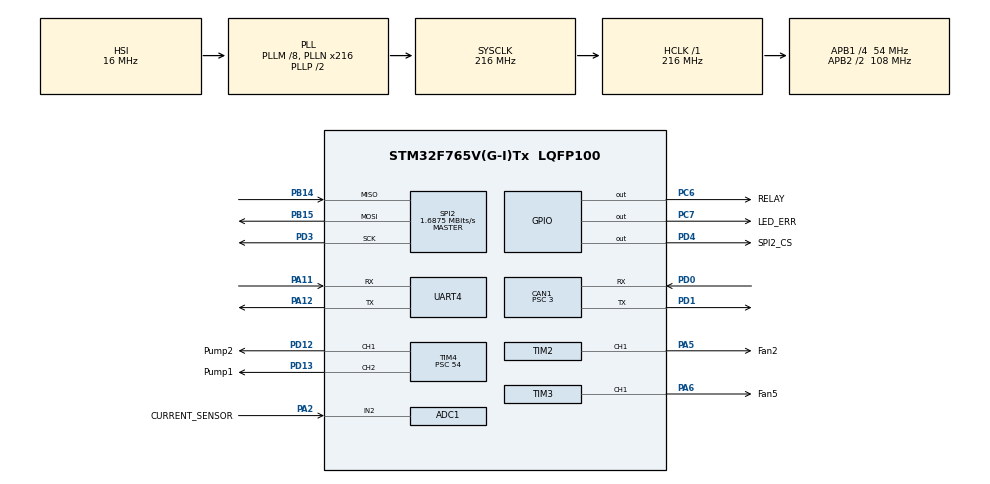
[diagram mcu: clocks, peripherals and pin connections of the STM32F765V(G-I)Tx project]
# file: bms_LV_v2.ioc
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ADC1.Channel-0\#ChannelRegularConversion=ADC_CHANNEL_2
ADC1.ContinuousConvMode=ENABLE
ADC1.NbrOfConversionFlag=1
ADC1.Rank-0\#ChannelRegularConversion=1
ADC1.SamplingTime-0\#ChannelRegularConversion=ADC_SAMPLETIME_3CYCLES
ADC1.master=1
CAN1.BS1=CAN_BS1_15TQ
CAN1.BS2=CAN_BS2_2TQ
CAN1.CalculateTimeQuantum=55.55555555555556
CAN1.Prescaler=3
Mcu.Family=STM32F7
Mcu.Name=STM32F765V(G-I)Tx
Mcu.Package=LQFP100
NVIC.ADC_IRQn=true\:0\:0\:false\:true\:true\:5\:true\:true
NVIC.CAN1_RX0_IRQn=true\:0\:0\:false\:true\:true\:3\:true\:true
NVIC.CAN1_RX1_IRQn=true\:0\:0\:false\:true\:true\:1\:true\:true
NVIC.CAN1_SCE_IRQn=true\:0\:0\:false\:true\:true\:2\:true\:true
NVIC.CAN1_TX_IRQn=true\:0\:0\:false\:true\:true\:4\:true\:true
NVIC.PriorityGroup=NVIC_PRIORITYGROUP_4
NVIC.TIM5_IRQn=true\:0\:0\:false\:true\:true\:6\:true\:true
NVIC.TIM7_IRQn=true\:0\:0\:false\:true\:true\:7\:true\:true
PA11.Mode=Asynchronous
PA11.Signal=UART4_RX
PA12.Mode=Asynchronous
PA12.Signal=UART4_TX
PA2.GPIO_Label=CURRENT_SENSOR
PA2.Signal=ADCx_IN2
PA5.GPIO_Label=Fan2
PA5.Signal=S_TIM2_CH1_ETR
PA6.GPIO_Label=Fan5
PA6.Signal=S_TIM3_CH1
PB14.GPIO_PuPd=GPIO_PULLUP
PB14.Mode=Full_Duplex_Master
PB14.Signal=SPI2_MISO
PB15.Mode=Full_Duplex_Master
PB15.Signal=SPI2_MOSI
PC6.GPIO_Label=RELAY
PC6.Signal=GPIO_Output
PC7.GPIO_Label=LED_ERR
PC7.Signal=GPIO_Output
PD0.Mode=Master
PD0.Signal=CAN1_RX
PD1.Mode=Master
PD1.Signal=CAN1_TX
PD12.GPIO_Label=Pump2
PD12.Signal=S_TIM4_CH1
PD13.GPIO_Label=Pump1
PD13.Signal=S_TIM4_CH2
PD3.Mode=Full_Duplex_Master
PD3.Signal=SPI2_SCK
PD4.GPIO_Label=SPI2_CS
PD4.Signal=GPIO_Output
ProjectManager.HeapSize=0x200
ProjectManager.StackSize=0x400
ProjectManager.TargetToolchain=Makefile
RCC.AHBFreq_Value=216000000
RCC.APB1CLKDivider=RCC_HCLK_DIV4
RCC.APB1Freq_Value=54000000
RCC.APB1TimFreq_Value=108000000
RCC.APB2CLKDivider=RCC_HCLK_DIV2
RCC.APB2Freq_Value=108000000
RCC.APB2TimFreq_Value=216000000
RCC.CortexFreq_Value=216000000
RCC.HCLKFreq_Value=216000000
RCC.HSE_VALUE=26000000
RCC.HSI_VALUE=16000000
RCC.LSE_VALUE=32768
RCC.PLLM=8
RCC.PLLN=216
RCC.PLLQ=9
RCC.SDMMC2ClockSelection=RCC_SDMMC2CLKSOURCE_CLK48
RCC.SYSCLKFreq_VALUE=216000000
RCC.SYSCLKSource=RCC_SYSCLKSOURCE_PLLCLK
RCC.USBFreq_Value=48000000
RCC.VCOOutputFreq_Value=432000000
SH.ADCx_IN2.0=ADC1_IN2,IN2
SH.S_TIM2_CH1_ETR.0=TIM2_CH1,PWM Generation1 CH1
SH.S_TIM3_CH1.0=TIM3_CH1,PWM Generation1 CH1
SH.S_TIM4_CH1.0=TIM4_CH1,PWM Generation1 CH1
SH.S_TIM4_CH2.0=TIM4_CH2,PWM Generation2 CH2
SPI2.BaudRatePrescaler=SPI_BAUDRATEPRESCALER_32
SPI2.CLKPolarity=SPI_POLARITY_LOW
SPI2.CalculateBaudRate=1.6875 MBits/s
SPI2.DataSize=SPI_DATASIZE_8BIT
SPI2.Direction=SPI_DIRECTION_2LINES
SPI2.FirstBit=SPI_FIRSTBIT_MSB
SPI2.Mode=SPI_MODE_MASTER
SPI2.VirtualType=VM_MASTER
TIM2.Channel-PWM\ Generation1\ CH1=TIM_CHANNEL_1
TIM2.Period=1000
TIM2.Prescaler=208
TIM2.Pulse-PWM\ Generation1\ CH1=1
TIM3.Channel-PWM\ Generation1\ CH1=TIM_CHANNEL_1
TIM3.Period=1000
TIM3.Prescaler=108
TIM3.Pulse-PWM\ Generation1\ CH1=1
TIM4.Channel-PWM\ Generation1\ CH1=TIM_CHANNEL_1
TIM4.Channel-PWM\ Generation2\ CH2=TIM_CHANNEL_2
TIM4.Period=1000
TIM4.Prescaler=54
TIM5.Period=999
TIM5.Prescaler=108
TIM7.Period=1000
TIM7.Prescaler=5400
VP_TIM2_VS_ClockSourceINT.Mode=Internal
VP_TIM3_VS_ClockSourceINT.Mode=Internal
VP_TIM4_VS_ClockSourceINT.Mode=Internal
VP_TIM5_VS_ClockSourceINT.Mode=Internal
VP_TIM7_VS_ClockSourceINT.Mode=Enable_Timer
board=custom

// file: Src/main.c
/* USER CODE BEGIN Header */
/**
  ******************************************************************************
  * @file           : main.c
  * @brief          : Main program body
  ******************************************************************************
  * @attention
  *
  * <h2><center>&copy; Copyright (c) 2020 STMicroelectronics.
  * All rights reserved.</center></h2>
  *
  * This software component is licensed by ST under BSD 3-Clause license,
  * the "License"; You may not use this file except in compliance with the
  * License. You may obtain a copy of the License at:
  *                        opensource.org/licenses/BSD-3-Clause
  *
  ******************************************************************************
  */
/* USER CODE END Header */

#include "main.h"

/* USER CODE BEGIN Includes */
#include "pid_controller.h"
#include "ltc.h"
#include "stdio.h"
#include "string.h"
#include "can.h"
#include "current_sensor.h"
#include "pwm.h"
/* USER CODE END Includes */

/* USER CODE BEGIN PTD */

/* ----------------------------------- ERRORS ---------------------------------*/

int BMS_ON_REQUEST = 1;
int BMS_IS_ON = 0;

int UNDER_VOLTAGE = 0;
int OVER_TEMPERATURE = 0;

//Pump
//PD13  -> PWM  -> Pump1
//PD12  -> PWM  -> Pump2

//Radiator
//PC0   -> ADC  -> Radiator1
//PC1   -> ADC  -> Radiator2

/* ---------------- ID ------------------- */
#define BMS_LV_ASK_ID 0xFF     // Foo Fighters
#define STEER_ASK_ID 0xAF      // Steering wheel
#define INV_LEFT_ASK_ID 0x181  // Inverter left
#define INV_RIGHT_ASK_ID 0x182 // Inverter right
#define ACC_TEMP_ASK_ID 0xAA   // Accumulator temperatures
#define ECU_ASK_ID 0xF8        // ECU initial check ID

/* ---------------- PIN ------------------- */
#define RELAY_PIN GPIOC
#define RELAY_PIN_N GPIO_PIN_6

/* USER CODE END PTD */

ADC_HandleTypeDef hadc1;

CAN_HandleTypeDef hcan1;

SPI_HandleTypeDef hspi2;

TIM_HandleTypeDef htim2;
TIM_HandleTypeDef htim3;
TIM_HandleTypeDef htim4;
TIM_HandleTypeDef htim5;
TIM_HandleTypeDef htim7;

UART_HandleTypeDef huart4;

/* USER CODE BEGIN PV */
const bool DEBUG_CAN_SEND = false;
const bool DEBUG_VALUES = true;
const bool DEBUG_SENSOR_CURRENT = false;
const bool DEBUG_LTC = false;

const uint32_t ERR_LED_BLINK_error_MSEC = 100;
const uint32_t ERR_LED_BLINK_overT_ON_MSEC = 800;
const uint32_t ERR_LED_BLINK_overT_OFF_MSEC = 200;
const uint32_t ERR_LED_BLINK_underV_ON_MSEC = 100;
const uint32_t ERR_LED_BLINK_underV_OFF_MSEC = 900;

int prev_toggle_msec = 0;

// cooling system PWM
pwm_struct lv_pwm;
pwm_struct hv_pwm;
pwm_struct pump_pwm;

// PID
PIDControl lv_pid;
PIDControl hv_pid;
PIDControl pump_pid;

// Temperatures
temperatures_struct lv_temp;
temperatures_struct hv_temp;
temperatures_struct pump_temp;

// LTC
ltc_struct ltc;
extern canStruct can1, can3;

// ERROR LED
LED_STATE led_state;

char txt[100];
ADC_ChannelConfTypeDef UserAdcConfig = {0};
uint8_t cont_ms, cont_dec, cont_sec, cont_min, cont_hours;

uint32_t over_temp_start_msec, under_volt_start_msec;
/* USER CODE END PV */

void SystemClock_Config(void);
static void MX_GPIO_Init(void);
static void MX_ADC1_Init(void);
static void MX_CAN1_Init(void);
static void MX_SPI2_Init(void);
static void MX_TIM3_Init(void);
static void MX_UART4_Init(void);
static void MX_TIM2_Init(void);
static void MX_TIM4_Init(void);
static void MX_TIM5_Init(void);
static void MX_TIM7_Init(void);
static void MX_NVIC_Init(void);

/* USER CODE BEGIN 0 */
int sensor_update_flag = 0;
int debug_flag = 0;
int m_sec_timer = 0;
/* USER CODE END 0 */

int main(void)
{

  /* MCU Configuration--------------------------------------------------------*/

  /* Reset of all peripherals, Initializes the Flash interface and the Systick. */
  HAL_Init();

  /* Configure the system clock */
  SystemClock_Config();

  /* Initialize all configured peripherals */
  MX_GPIO_Init();
  MX_ADC1_Init();
  MX_CAN1_Init();
  MX_SPI2_Init();
  MX_TIM3_Init();
  MX_UART4_Init();
  MX_TIM2_Init();
  MX_TIM4_Init();
  MX_TIM5_Init();
  MX_TIM7_Init();

  /* Initialize interrupts */
  MX_NVIC_Init();
  /* USER CODE BEGIN 2 */

  sprintf(txt, "\r\n\n\n\n\n\n\n\n\n\n\n\n\n\n\n\n\n\n\n\n\n\n\n\n\n\n\n\n");
  HAL_UART_Transmit(&huart4, (uint8_t *)txt, strlen(txt), 10);

  //ERROR_LED
  for (int i = 0; i < 9; i++)
  {
    HAL_GPIO_TogglePin(LED_ERR_GPIO_Port, LED_ERR_Pin);
    HAL_Delay(100);
  }

  //BUZZER
  HAL_GPIO_WritePin(GPIOC, GPIO_PIN_3, GPIO_PIN_SET);
  HAL_Delay(1000);
  HAL_GPIO_WritePin(GPIOC, GPIO_PIN_3, GPIO_PIN_RESET);

  can1.rx0_interrupt = CAN1_RX0_IRQn;
  can1.tx_interrupt = CAN1_TX_IRQn;
  can1.hcan = &hcan1;

  sprintf(txt, "CAN initialization... ");
  HAL_UART_Transmit(&huart4, (uint8_t *)txt, strlen(txt), 10);
  if (can_init())
    sprintf(txt, "DONE\r\n");
  else
    sprintf(txt, "FAILED\r\n");
  HAL_UART_Transmit(&huart4, (uint8_t *)txt, strlen(txt), 10);

  sprintf(txt, "Initializing LTC\r\n");
  LTC_init(&ltc, &hspi2, 0, GPIOD, GPIO_PIN_4); //init function of LTC_6810

  UserAdcConfig.Channel = ADC_CHANNEL_2;
  UserAdcConfig.Rank = ADC_REGULAR_RANK_1;
  UserAdcConfig.SamplingTime = ADC_SAMPLETIME_480CYCLES;
  if (HAL_ADC_ConfigChannel(&hadc1, &UserAdcConfig) != HAL_OK)
  {
    Error_Handler();
  }
  HAL_ADC_Start_IT(&hadc1);

  HAL_TIM_Base_Start_IT(&htim5);
  HAL_TIM_Base_Start_IT(&htim7);
  HAL_TIM_Base_Start(&htim5);
  HAL_TIM_Base_Start(&htim7);

  // Initializing PWM
  Init_pwm(&hv_pwm, &htim2, TIM_CHANNEL_1);
  Init_pwm(&lv_pwm, &htim3, TIM_CHANNEL_1);
  Init_pwm(&pump_pwm, &htim4, TIM_CHANNEL_1);

  // Initializing temperatures
  lv_temp.desired = 45;
  hv_temp.desired = 45;
  pump_temp.desired = 45;

  lv_temp.max_temp = 70;
  hv_temp.max_temp = 70;
  pump_temp.max_temp = 70;

  // Initializing PID
  double sample_time = (htim7.Init.Prescaler * htim7.Init.Period) / 108000000;
  PIDInit(&lv_pid, 10, 0.01, 0.01, (float)sample_time, 100, 1000, AUTOMATIC, REVERSE);
  PIDInit(&hv_pid, 10, 0.01, 0.01, 0.5, 100, 1000, AUTOMATIC, REVERSE);
  PIDInit(&pump_pid, 10, 0.01, 0.01, 0.5, 100, 1000, AUTOMATIC, REVERSE);

  lv_pid.setpoint = lv_temp.desired;
  hv_pid.setpoint = hv_temp.desired;
  pump_pid.setpoint = pump_temp.desired;

  lv_temp.value = 65;
  hv_temp.value = 50;
  pump_temp.value = 50;

  /* USER CODE END 2 */

  /* Infinite loop */
  /* USER CODE BEGIN WHILE */
  m_sec_timer = HAL_GetTick();
  int currentTick = m_sec_timer;
  int previous_millis = HAL_GetTick();
  while (1)
  {

    currentTick = HAL_GetTick();

    if (sensor_update_flag == 1)
    {
      sensor_update_flag = 0;

      // LTC
      read_voltages(&ltc);

      // Temperatures
      // TODO: read temperatures from adc and read from CANBUS

      lv_pid.input = lv_temp.value;
      hv_pid.input = hv_temp.value;
      pump_pid.input = pump_temp.value;

      // PID
      PIDCompute(&lv_pid);
      PIDCompute(&hv_pid);
      PIDCompute(&pump_pid);

      // PWM
      lv_pwm.value = lv_pid.output;
      hv_pwm.value = hv_pid.output;
      pump_pwm.value = pump_pid.output;

      check_over_temperature();
      check_under_voltage();
    }

    if (currentTick % 200 == 0)
    {
      write_pwm_value(&lv_pwm);
      write_pwm_value(&hv_pwm);
      write_pwm_value(&pump_pwm);
    }

    if (debug_flag)
    {
      if (DEBUG_VALUES)
      {
        sprintf(txt, "\r\n\n\n\n\n\n\n\n\n\n\n\n\n\n\n\n\n\n\n\n\n\n\n\n\n\n\n\n");
        HAL_UART_Transmit(&huart4, (uint8_t *)txt, strlen(txt), 10);
        sprintf(txt, "BMS_IS_ON: %d, overT: %d, underV: %d\r\n", BMS_IS_ON, OVER_TEMPERATURE, UNDER_VOLTAGE);
        HAL_UART_Transmit(&huart4, (uint8_t *)txt, strlen(txt), 10);
        sprintf(txt, "PID outputs lv: %d hv: %d pump: %d\r\n", (int)PIDOutputGet(&lv_pid), (int)PIDOutputGet(&hv_pid), (int)PIDOutputGet(&pump_pid));
        HAL_UART_Transmit(&huart4, (uint8_t *)txt, strlen(txt), 10);
        sprintf(txt, "Voltages %d %d %d %d %d %d\r\n", ltc.voltage[0], ltc.voltage[1], ltc.voltage[2], ltc.voltage[3], ltc.voltage[4], ltc.voltage[5]);
        HAL_UART_Transmit(&huart4, (uint8_t *)txt, strlen(txt), 10);
        sprintf(txt, "Current from sensor: %lu\r\n", get_current());
        HAL_UART_Transmit(&huart4, (uint8_t *)txt, strlen(txt), 10);
      }
      debug_flag = 0;
    }

    if (previous_millis != currentTick)
    {
      int sent = send_CAN_data(currentTick);
      previous_millis = currentTick;
      if (sent != 0 && DEBUG_CAN_SEND)
      {
        sprintf(txt, "Sent message: %d\r\n", sent);
        HAL_UART_Transmit(&huart4, (uint8_t *)txt, strlen(txt), 10);
      }
    }

    if (BMS_IS_ON)
    {
      HAL_GPIO_WritePin(RELAY_GPIO_Port, RELAY_Pin, GPIO_PIN_SET);
      led_state = ON;
    }
    else
    {
      HAL_GPIO_WritePin(RELAY_GPIO_Port, RELAY_Pin, GPIO_PIN_RESET);
      if (UNDER_VOLTAGE)
      {
        led_state = BLINK_underV;
        if (OVER_TEMPERATURE)
          led_state = BLINK_error;
      }
      else
      {
        if (OVER_TEMPERATURE)
          led_state = BLINK_overT;
        else
          led_state = OFF;
      }
    }

    BMS_ON_OFF();
    write_error_led(led_state);

    /* USER CODE END WHILE */

  }
}

void SystemClock_Config(void)
{
  RCC_OscInitTypeDef RCC_OscInitStruct = {0};
  RCC_ClkInitTypeDef RCC_ClkInitStruct = {0};
  RCC_PeriphCLKInitTypeDef PeriphClkInitStruct = {0};

  /** Configure the main internal regulator output voltage
  */
  __HAL_RCC_PWR_CLK_ENABLE();
  __HAL_PWR_VOLTAGESCALING_CONFIG(PWR_REGULATOR_VOLTAGE_SCALE1);
  /** Initializes the CPU, AHB and APB busses clocks
  */
  RCC_OscInitStruct.OscillatorType = RCC_OSCILLATORTYPE_HSI;
  RCC_OscInitStruct.HSIState = RCC_HSI_ON;
  RCC_OscInitStruct.HSICalibrationValue = RCC_HSICALIBRATION_DEFAULT;
  RCC_OscInitStruct.PLL.PLLState = RCC_PLL_ON;
  RCC_OscInitStruct.PLL.PLLSource = RCC_PLLSOURCE_HSI;
  RCC_OscInitStruct.PLL.PLLM = 8;
  RCC_OscInitStruct.PLL.PLLN = 216;
  RCC_OscInitStruct.PLL.PLLP = RCC_PLLP_DIV2;
  RCC_OscInitStruct.PLL.PLLQ = 9;
  if (HAL_RCC_OscConfig(&RCC_OscInitStruct) != HAL_OK)
  {
    Error_Handler();
  }
  /** Activate the Over-Drive mode
  */
  if (HAL_PWREx_EnableOverDrive() != HAL_OK)
  {
    Error_Handler();
  }
  /** Initializes the CPU, AHB and APB busses clocks
  */
  RCC_ClkInitStruct.ClockType = RCC_CLOCKTYPE_HCLK | RCC_CLOCKTYPE_SYSCLK | RCC_CLOCKTYPE_PCLK1 | RCC_CLOCKTYPE_PCLK2;
  RCC_ClkInitStruct.SYSCLKSource = RCC_SYSCLKSOURCE_PLLCLK;
  RCC_ClkInitStruct.AHBCLKDivider = RCC_SYSCLK_DIV1;
  RCC_ClkInitStruct.APB1CLKDivider = RCC_HCLK_DIV4;
  RCC_ClkInitStruct.APB2CLKDivider = RCC_HCLK_DIV2;

  if (HAL_RCC_ClockConfig(&RCC_ClkInitStruct, FLASH_LATENCY_7) != HAL_OK)
  {
    Error_Handler();
  }
  PeriphClkInitStruct.PeriphClockSelection = RCC_PERIPHCLK_UART4;
  PeriphClkInitStruct.Uart4ClockSelection = RCC_UART4CLKSOURCE_PCLK1;
  if (HAL_RCCEx_PeriphCLKConfig(&PeriphClkInitStruct) != HAL_OK)
  {
    Error_Handler();
  }
}

/**
  * @brief NVIC Configuration.
  * @retval None
  */
static void MX_NVIC_Init(void)
{
  /* CAN1_RX1_IRQn interrupt configuration */
  HAL_NVIC_SetPriority(CAN1_RX1_IRQn, 0, 0);
  HAL_NVIC_EnableIRQ(CAN1_RX1_IRQn);
  /* CAN1_SCE_IRQn interrupt configuration */
  HAL_NVIC_SetPriority(CAN1_SCE_IRQn, 0, 0);
  HAL_NVIC_EnableIRQ(CAN1_SCE_IRQn);
  /* CAN1_RX0_IRQn interrupt configuration */
  HAL_NVIC_SetPriority(CAN1_RX0_IRQn, 0, 0);
  HAL_NVIC_EnableIRQ(CAN1_RX0_IRQn);
  /* CAN1_TX_IRQn interrupt configuration */
  HAL_NVIC_SetPriority(CAN1_TX_IRQn, 0, 0);
  HAL_NVIC_EnableIRQ(CAN1_TX_IRQn);
  /* ADC_IRQn interrupt configuration */
  HAL_NVIC_SetPriority(ADC_IRQn, 0, 0);
  HAL_NVIC_EnableIRQ(ADC_IRQn);
  /* TIM5_IRQn interrupt configuration */
  HAL_NVIC_SetPriority(TIM5_IRQn, 0, 0);
  HAL_NVIC_EnableIRQ(TIM5_IRQn);
  /* TIM7_IRQn interrupt configuration */
  HAL_NVIC_SetPriority(TIM7_IRQn, 0, 0);
  HAL_NVIC_EnableIRQ(TIM7_IRQn);
}

static void MX_ADC1_Init(void)
{

  ADC_ChannelConfTypeDef sConfig = {0};

  /** Configure the global features of the ADC (Clock, Resolution, Data Alignment and number of conversion)
  */
  hadc1.Instance = ADC1;
  hadc1.Init.ClockPrescaler = ADC_CLOCK_SYNC_PCLK_DIV4;
  hadc1.Init.Resolution = ADC_RESOLUTION_12B;
  hadc1.Init.ScanConvMode = ADC_SCAN_DISABLE;
  hadc1.Init.ContinuousConvMode = ENABLE;
  hadc1.Init.DiscontinuousConvMode = DISABLE;
  hadc1.Init.ExternalTrigConvEdge = ADC_EXTERNALTRIGCONVEDGE_NONE;
  hadc1.Init.ExternalTrigConv = ADC_SOFTWARE_START;
  hadc1.Init.DataAlign = ADC_DATAALIGN_RIGHT;
  hadc1.Init.NbrOfConversion = 1;
  hadc1.Init.DMAContinuousRequests = DISABLE;
  hadc1.Init.EOCSelection = ADC_EOC_SINGLE_CONV;
  if (HAL_ADC_Init(&hadc1) != HAL_OK)
  {
    Error_Handler();
  }
  /** Configure for the selected ADC regular channel its corresponding rank in the sequencer and its sample time.
  */
  sConfig.Channel = ADC_CHANNEL_2;
  sConfig.Rank = ADC_REGULAR_RANK_1;
  sConfig.SamplingTime = ADC_SAMPLETIME_3CYCLES;
  if (HAL_ADC_ConfigChannel(&hadc1, &sConfig) != HAL_OK)
  {
    Error_Handler();
  }
}

static void MX_CAN1_Init(void)
{

  hcan1.Instance = CAN1;
  hcan1.Init.Prescaler = 3;
  hcan1.Init.Mode = CAN_MODE_NORMAL;
  hcan1.Init.SyncJumpWidth = CAN_SJW_1TQ;
  hcan1.Init.TimeSeg1 = CAN_BS1_15TQ;
  hcan1.Init.TimeSeg2 = CAN_BS2_2TQ;
  hcan1.Init.TimeTriggeredMode = DISABLE;
  hcan1.Init.AutoBusOff = DISABLE;
  hcan1.Init.AutoWakeUp = DISABLE;
  hcan1.Init.AutoRetransmission = DISABLE;
  hcan1.Init.ReceiveFifoLocked = DISABLE;
  hcan1.Init.TransmitFifoPriority = DISABLE;
  if (HAL_CAN_Init(&hcan1) != HAL_OK)
  {
    Error_Handler();
  }
}

static void MX_SPI2_Init(void)
{

  /* SPI2 parameter configuration*/
  hspi2.Instance = SPI2;
  hspi2.Init.Mode = SPI_MODE_MASTER;
  hspi2.Init.Direction = SPI_DIRECTION_2LINES;
  hspi2.Init.DataSize = SPI_DATASIZE_8BIT;
  hspi2.Init.CLKPolarity = SPI_POLARITY_LOW;
  hspi2.Init.CLKPhase = SPI_PHASE_1EDGE;
  hspi2.Init.NSS = SPI_NSS_SOFT;
  hspi2.Init.BaudRatePrescaler = SPI_BAUDRATEPRESCALER_32;
  hspi2.Init.FirstBit = SPI_FIRSTBIT_MSB;
  hspi2.Init.TIMode = SPI_TIMODE_DISABLE;
  hspi2.Init.CRCCalculation = SPI_CRCCALCULATION_DISABLE;
  hspi2.Init.CRCPolynomial = 7;
  hspi2.Init.CRCLength = SPI_CRC_LENGTH_DATASIZE;
  hspi2.Init.NSSPMode = SPI_NSS_PULSE_ENABLE;
  if (HAL_SPI_Init(&hspi2) != HAL_OK)
  {
    Error_Handler();
  }
}

static void MX_TIM2_Init(void)
{

  TIM_ClockConfigTypeDef sClockSourceConfig = {0};
  TIM_MasterConfigTypeDef sMasterConfig = {0};
  TIM_OC_InitTypeDef sConfigOC = {0};

  htim2.Instance = TIM2;
  htim2.Init.Prescaler = 208;
  htim2.Init.CounterMode = TIM_COUNTERMODE_UP;
  htim2.Init.Period = 1000;
  htim2.Init.ClockDivision = TIM_CLOCKDIVISION_DIV1;
  htim2.Init.AutoReloadPreload = TIM_AUTORELOAD_PRELOAD_DISABLE;
  if (HAL_TIM_Base_Init(&htim2) != HAL_OK)
  {
    Error_Handler();
  }
  sClockSourceConfig.ClockSource = TIM_CLOCKSOURCE_INTERNAL;
  if (HAL_TIM_ConfigClockSource(&htim2, &sClockSourceConfig) != HAL_OK)
  {
    Error_Handler();
  }
  if (HAL_TIM_PWM_Init(&htim2) != HAL_OK)
  {
    Error_Handler();
  }
  sMasterConfig.MasterOutputTrigger = TIM_TRGO_RESET;
  sMasterConfig.MasterSlaveMode = TIM_MASTERSLAVEMODE_DISABLE;
  if (HAL_TIMEx_MasterConfigSynchronization(&htim2, &sMasterConfig) != HAL_OK)
  {
    Error_Handler();
  }
  sConfigOC.OCMode = TIM_OCMODE_PWM1;
  sConfigOC.Pulse = 1;
  sConfigOC.OCPolarity = TIM_OCPOLARITY_HIGH;
  sConfigOC.OCFastMode = TIM_OCFAST_DISABLE;
  if (HAL_TIM_PWM_ConfigChannel(&htim2, &sConfigOC, TIM_CHANNEL_1) != HAL_OK)
  {
    Error_Handler();
  }
  HAL_TIM_MspPostInit(&htim2);
}

static void MX_TIM3_Init(void)
{

  TIM_ClockConfigTypeDef sClockSourceConfig = {0};
  TIM_MasterConfigTypeDef sMasterConfig = {0};
  TIM_OC_InitTypeDef sConfigOC = {0};

  htim3.Instance = TIM3;
  htim3.Init.Prescaler = 108;
  htim3.Init.CounterMode = TIM_COUNTERMODE_UP;
  htim3.Init.Period = 1000;
  htim3.Init.ClockDivision = TIM_CLOCKDIVISION_DIV1;
  htim3.Init.AutoReloadPreload = TIM_AUTORELOAD_PRELOAD_DISABLE;
  if (HAL_TIM_Base_Init(&htim3) != HAL_OK)
  {
    Error_Handler();
  }
  sClockSourceConfig.ClockSource = TIM_CLOCKSOURCE_INTERNAL;
  if (HAL_TIM_ConfigClockSource(&htim3, &sClockSourceConfig) != HAL_OK)
  {
    Error_Handler();
  }
  if (HAL_TIM_PWM_Init(&htim3) != HAL_OK)
  {
    Error_Handler();
  }
  sMasterConfig.MasterOutputTrigger = TIM_TRGO_RESET;
  sMasterConfig.MasterSlaveMode = TIM_MASTERSLAVEMODE_DISABLE;
  if (HAL_TIMEx_MasterConfigSynchronization(&htim3, &sMasterConfig) != HAL_OK)
  {
    Error_Handler();
  }
  sConfigOC.OCMode = TIM_OCMODE_PWM1;
  sConfigOC.Pulse = 1;
  sConfigOC.OCPolarity = TIM_OCPOLARITY_HIGH;
  sConfigOC.OCFastMode = TIM_OCFAST_DISABLE;
  if (HAL_TIM_PWM_ConfigChannel(&htim3, &sConfigOC, TIM_CHANNEL_1) != HAL_OK)
  {
    Error_Handler();
  }
  HAL_TIM_MspPostInit(&htim3);
}

static void MX_TIM4_Init(void)
{

  TIM_ClockConfigTypeDef sClockSourceConfig = {0};
  TIM_MasterConfigTypeDef sMasterConfig = {0};
  TIM_OC_InitTypeDef sConfigOC = {0};

  htim4.Instance = TIM4;
  htim4.Init.Prescaler = 54;
  htim4.Init.CounterMode = TIM_COUNTERMODE_UP;
  htim4.Init.Period = 1000;
  htim4.Init.ClockDivision = TIM_CLOCKDIVISION_DIV1;
  htim4.Init.AutoReloadPreload = TIM_AUTORELOAD_PRELOAD_DISABLE;
  if (HAL_TIM_Base_Init(&htim4) != HAL_OK)
  {
    Error_Handler();
  }
  sClockSourceConfig.ClockSource = TIM_CLOCKSOURCE_INTERNAL;
  if (HAL_TIM_ConfigClockSource(&htim4, &sClockSourceConfig) != HAL_OK)
  {
    Error_Handler();
  }
  if (HAL_TIM_PWM_Init(&htim4) != HAL_OK)
  {
    Error_Handler();
  }
  sMasterConfig.MasterOutputTrigger = TIM_TRGO_RESET;
  sMasterConfig.MasterSlaveMode = TIM_MASTERSLAVEMODE_DISABLE;
  if (HAL_TIMEx_MasterConfigSynchronization(&htim4, &sMasterConfig) != HAL_OK)
  {
    Error_Handler();
  }
  sConfigOC.OCMode = TIM_OCMODE_PWM1;
  sConfigOC.Pulse = 0;
  sConfigOC.OCPolarity = TIM_OCPOLARITY_HIGH;
  sConfigOC.OCFastMode = TIM_OCFAST_DISABLE;
  if (HAL_TIM_PWM_ConfigChannel(&htim4, &sConfigOC, TIM_CHANNEL_1) != HAL_OK)
  {
    Error_Handler();
  }
  if (HAL_TIM_PWM_ConfigChannel(&htim4, &sConfigOC, TIM_CHANNEL_2) != HAL_OK)
  {
    Error_Handler();
  }
  HAL_TIM_MspPostInit(&htim4);
}

static void MX_TIM5_Init(void)
{

  TIM_ClockConfigTypeDef sClockSourceConfig = {0};
  TIM_MasterConfigTypeDef sMasterConfig = {0};

  htim5.Instance = TIM5;
  htim5.Init.Prescaler = 108;
  htim5.Init.CounterMode = TIM_COUNTERMODE_UP;
  htim5.Init.Period = 999;
  htim5.Init.ClockDivision = TIM_CLOCKDIVISION_DIV1;
  htim5.Init.AutoReloadPreload = TIM_AUTORELOAD_PRELOAD_DISABLE;
  if (HAL_TIM_Base_Init(&htim5) != HAL_OK)
  {
    Error_Handler();
  }
  sClockSourceConfig.ClockSource = TIM_CLOCKSOURCE_INTERNAL;
  if (HAL_TIM_ConfigClockSource(&htim5, &sClockSourceConfig) != HAL_OK)
  {
    Error_Handler();
  }
  sMasterConfig.MasterOutputTrigger = TIM_TRGO_RESET;
  sMasterConfig.MasterSlaveMode = TIM_MASTERSLAVEMODE_DISABLE;
  if (HAL_TIMEx_MasterConfigSynchronization(&htim5, &sMasterConfig) != HAL_OK)
  {
    Error_Handler();
  }
}

static void MX_TIM7_Init(void)
{

  TIM_MasterConfigTypeDef sMasterConfig = {0};

  htim7.Instance = TIM7;
  htim7.Init.Prescaler = 5400;
  htim7.Init.CounterMode = TIM_COUNTERMODE_UP;
  htim7.Init.Period = 1000;
  htim7.Init.AutoReloadPreload = TIM_AUTORELOAD_PRELOAD_DISABLE;
  if (HAL_TIM_Base_Init(&htim7) != HAL_OK)
  {
    Error_Handler();
  }
  sMasterConfig.MasterOutputTrigger = TIM_TRGO_RESET;
  sMasterConfig.MasterSlaveMode = TIM_MASTERSLAVEMODE_DISABLE;
  if (HAL_TIMEx_MasterConfigSynchronization(&htim7, &sMasterConfig) != HAL_OK)
  {
    Error_Handler();
  }
}

static void MX_UART4_Init(void)
{

  huart4.Instance = UART4;
  huart4.Init.BaudRate = 115200;
  huart4.Init.WordLength = UART_WORDLENGTH_8B;
  huart4.Init.StopBits = UART_STOPBITS_1;
  huart4.Init.Parity = UART_PARITY_NONE;
  huart4.Init.Mode = UART_MODE_TX_RX;
  huart4.Init.HwFlowCtl = UART_HWCONTROL_NONE;
  huart4.Init.OverSampling = UART_OVERSAMPLING_16;
  huart4.Init.OneBitSampling = UART_ONE_BIT_SAMPLE_DISABLE;
  huart4.AdvancedInit.AdvFeatureInit = UART_ADVFEATURE_NO_INIT;
  if (HAL_UART_Init(&huart4) != HAL_OK)
  {
    Error_Handler();
  }
}

static void MX_GPIO_Init(void)
{
  GPIO_InitTypeDef GPIO_InitStruct = {0};

  /* GPIO Ports Clock Enable */
  __HAL_RCC_GPIOA_CLK_ENABLE();
  __HAL_RCC_GPIOB_CLK_ENABLE();
  __HAL_RCC_GPIOD_CLK_ENABLE();
  __HAL_RCC_GPIOC_CLK_ENABLE();

  /*Configure GPIO pin Output Level */
  HAL_GPIO_WritePin(GPIOC, RELAY_Pin | LED_ERR_Pin, GPIO_PIN_RESET);

  /*Configure GPIO pin Output Level */
  HAL_GPIO_WritePin(SPI2_CS_GPIO_Port, SPI2_CS_Pin, GPIO_PIN_RESET);

  /*Configure GPIO pins : RELAY_Pin LED_ERR_Pin */
  GPIO_InitStruct.Pin = RELAY_Pin | LED_ERR_Pin;
  GPIO_InitStruct.Mode = GPIO_MODE_OUTPUT_PP;
  GPIO_InitStruct.Pull = GPIO_NOPULL;
  GPIO_InitStruct.Speed = GPIO_SPEED_FREQ_LOW;
  HAL_GPIO_Init(GPIOC, &GPIO_InitStruct);

  /*Configure GPIO pin : SPI2_CS_Pin */
  GPIO_InitStruct.Pin = SPI2_CS_Pin;
  GPIO_InitStruct.Mode = GPIO_MODE_OUTPUT_PP;
  GPIO_InitStruct.Pull = GPIO_NOPULL;
  GPIO_InitStruct.Speed = GPIO_SPEED_FREQ_LOW;
  HAL_GPIO_Init(SPI2_CS_GPIO_Port, &GPIO_InitStruct);
}

/* USER CODE BEGIN 4 */
void HAL_ADC_ConvCpltCallback(ADC_HandleTypeDef *hadc)
{
  if (hadc == &hadc1)
  {
    if (UserAdcConfig.Channel == ADC_CHANNEL_2)
    {
      uint32_t current;
      uint32_t adc_val;
      adc_val = HAL_ADC_GetValue(hadc);
      current = calc_current(adc_val);
      push_into_array(current);
      mean_current();
    }
    HAL_ADC_Start_IT(&hadc1);
  }
}

void write_error_led()
{
  switch (led_state)
  {
  case ON:
    HAL_GPIO_WritePin(LED_ERR_GPIO_Port, LED_ERR_Pin, GPIO_PIN_SET);
    break;

  case BLINK_error:
    if (HAL_GetTick() - prev_toggle_msec > ERR_LED_BLINK_error_MSEC)
    {
      HAL_GPIO_TogglePin(LED_ERR_GPIO_Port, LED_ERR_Pin);
      prev_toggle_msec = HAL_GetTick();
    }
    break;

  case BLINK_overT:
    if (HAL_GPIO_ReadPin(LED_ERR_GPIO_Port, LED_ERR_Pin))
    {
      if (HAL_GetTick() - prev_toggle_msec > ERR_LED_BLINK_overT_ON_MSEC)
      {
        HAL_GPIO_TogglePin(LED_ERR_GPIO_Port, LED_ERR_Pin);
        prev_toggle_msec = HAL_GetTick();
      }
    }
    else
    {
      if (HAL_GetTick() - prev_toggle_msec > ERR_LED_BLINK_overT_OFF_MSEC)
      {
        HAL_GPIO_TogglePin(LED_ERR_GPIO_Port, LED_ERR_Pin);
        prev_toggle_msec = HAL_GetTick();
      }
    }
    break;

  case BLINK_underV:
    if (HAL_GPIO_ReadPin(LED_ERR_GPIO_Port, LED_ERR_Pin))
    {
      if (HAL_GetTick() - prev_toggle_msec > ERR_LED_BLINK_underV_ON_MSEC)
      {
        HAL_GPIO_TogglePin(LED_ERR_GPIO_Port, LED_ERR_Pin);
        prev_toggle_msec = HAL_GetTick();
      }
    }
    else
    {
      if (HAL_GetTick() - prev_toggle_msec > ERR_LED_BLINK_underV_OFF_MSEC)
      {
        HAL_GPIO_TogglePin(LED_ERR_GPIO_Port, LED_ERR_Pin);
        prev_toggle_msec = HAL_GetTick();
      }
    }
    break;

  case OFF:
    HAL_GPIO_WritePin(LED_ERR_GPIO_Port, LED_ERR_Pin, GPIO_PIN_RESET);
    break;

  default:
    HAL_GPIO_WritePin(LED_ERR_GPIO_Port, LED_ERR_Pin, GPIO_PIN_RESET);
    break;
  }
}

void check_under_voltage()
{
  if (get_min_voltage(&ltc) < 10)
  {
    UNDER_VOLTAGE = 1;
  }
  else
  {
    UNDER_VOLTAGE = 0;
  }
}

void check_over_temperature()
{
  if (lv_temp.value > lv_temp.max_temp)
  {
    OVER_TEMPERATURE = 1;
  }
  else
  {
    OVER_TEMPERATURE = 0;
  }
}

int BMS_ON_OFF()
{
  if (BMS_ON_REQUEST == 1)
  {
    if (!OVER_TEMPERATURE && !UNDER_VOLTAGE)
    {
      BMS_IS_ON = 1;
    }
    else
    {
      BMS_IS_ON = 0;
    }
  }
  else
  {
    BMS_IS_ON = 0;
  }
  return BMS_IS_ON;
}

void HAL_TIM_PeriodElapsedCallback(TIM_HandleTypeDef *htim)
{
  if (htim == &htim5)
  {
    cont_ms++;
    if (cont_ms == 100)
    {
      cont_ms = 0;
      cont_dec++;
      if (cont_dec == 10)
      {
        cont_dec = 0;
        cont_sec++;

        debug_flag = 1;

        if (cont_sec == 60)
        {
          cont_sec = 0;
          cont_min++;
          if (cont_min == 60)
          {
            cont_min = 0;
            cont_hours++;
          }
        }
      }
    }
  }
  if (htim == &htim7)
  {
    sensor_update_flag = 1;
  }
}

int send_CAN_data(uint32_t tick)
{
  int message_sent = 0;

  if (tick % 200 == 0)
  {
    can1.tx_id = 0x97;
    can1.dataTx[0] = ltc.voltage[0] >> 8;
    can1.dataTx[1] = (uint8_t)ltc.voltage[1];
    can1.tx_size = 2;
    CAN_Send(&can1);
    message_sent = 1;
  }

  return message_sent;
}

void loading()
{
  int delay = 100;
  HAL_GPIO_WritePin(GPIOE, GPIO_PIN_11, GPIO_PIN_SET);
  HAL_Delay(delay);
  HAL_GPIO_WritePin(GPIOE, GPIO_PIN_12, GPIO_PIN_SET);
  HAL_Delay(delay);
  HAL_GPIO_WritePin(GPIOE, GPIO_PIN_13, GPIO_PIN_SET);
  HAL_Delay(delay);
  HAL_GPIO_WritePin(GPIOE, GPIO_PIN_14, GPIO_PIN_SET);
  HAL_Delay(delay * 3);

  HAL_GPIO_WritePin(GPIOE, GPIO_PIN_11, GPIO_PIN_RESET);
  HAL_Delay(delay);
  HAL_GPIO_WritePin(GPIOE, GPIO_PIN_12, GPIO_PIN_RESET);
  HAL_Delay(delay);
  HAL_GPIO_WritePin(GPIOE, GPIO_PIN_13, GPIO_PIN_RESET);
  HAL_Delay(delay);
  HAL_GPIO_WritePin(GPIOE, GPIO_PIN_14, GPIO_PIN_RESET);
  HAL_Delay(delay);
}

int CAN_Read_Message()
{
  if (fifoRxDataCAN_pop(&can1))
  {
    switch (can1.rx_id)
    {
    case INV_LEFT_ASK_ID:
      if (can1.dataRx[0] == 0x4A)
      { // Inverter left temperature
        // invLeftTemp = can->dataRx[1] + (can->dataRx[2] << 8);
        // inverterLeftTemp = (invLeftTemp - 15797) / 112.12;
      }
      else if (can1.dataRx[0] == 0x49)
      { // Motor left temperature
        // motLeftTemp = can->dataRx[1] + (can->dataRx[2] << 8);
        // motorLeftTemp = (motLeftTemp - 9394) / 55.10;
      }
      break;
    case INV_RIGHT_ASK_ID:
      if (can1.dataRx[0] == 0x4A)
      { // Inverter right temperature
        // invRightTemp = can->dataRx[1] + (can->dataRx[2] << 8);
        // inverterRightTemp = (invLeftTemp - 15797) / 112.12;
      }
      else if (can1.dataRx[0] == 0x49)
      { // Motor right temperature
        // motRightTemp = can->dataRx[1] + (can->dataRx[2] << 8);
        // motorRightTemp = (motLeftTemp - 9394) / 55.10;
      }
      break;
    case STEER_ASK_ID:
      if (can1.dataRx[0] == 0)
      {
        // overridePID = RxData[1]; // 1 - override PID
      }
      else if (can1.dataRx[0] == 1)
      {
        // overridePID = RxData[1];
        // pumpRequest = RxData[2];
      }
      else if (can1.dataRx[0] == 2)
      {
        // overridePID = RxData[1];
        // fanRequest = RxData[2];
      }
      else if (can1.dataRx[0] == 3 && can1.dataRx[1] == 1)
      {
        // overridePID = 2;
      }
      break;
    case ACC_TEMP_ASK_ID:
      if (can1.dataRx[0] == 6)
      { // Little endian
        // tmpHvAvgTemp = can->dataRx[5] + (can->dataRx[4] << 8);
        // hvAvgTemp = tmpHvAvgTemp / 100.0;
      }
      else if (can1.dataRx[0] == 6)
      {
        // tmpHvMaxTemp = can->dataRx[7] + (can->dataRx[6] << 8);
        // hvMaxTemp = tmpHvMaxTemp / 100.0;
      }
      break;
    case ECU_ASK_ID:
      break;
    case BMS_LV_ASK_ID:
      break;

    default:
      break;
    }
    return 0;
  }
}

/* USER CODE END 4 */

void Error_Handler(void)
{
}

/************************ (C) COPYRIGHT STMicroelectronics *****END OF FILE****/
